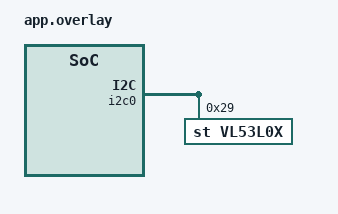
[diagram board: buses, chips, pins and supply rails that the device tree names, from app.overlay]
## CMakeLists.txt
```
cmake_minimum_required(VERSION 3.13.1)
# Copyright (c) 2019 PHYTEC Messtechnik GmbH
#
# SPDX-License-Identifier: Apache-2.0
#
set(BOARD reel_board)

include($ENV{ZEPHYR_BASE}/cmake/app/boilerplate.cmake NO_POLICY_SCOPE)
project(sensor_ble_beacon)

if(NOT ("${BOARD}" STREQUAL "reel_board"))
  message(FATAL_ERROR "${BOARD} was specified, but this sample only supports reel board")
endif()

target_sources(app PRIVATE src/main.c)
```

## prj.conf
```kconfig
#
# Copyright (c) 2019 PHYTEC Messtechnik GmbH
#
# SPDX-License-Identifier: Apache-2.0
#

CONFIG_BT=y
CONFIG_BT_BROADCASTER=y
CONFIG_BT_CTLR=y

CONFIG_TIMESLICING=n
CONFIG_SYS_POWER_MANAGEMENT=y
CONFIG_DEVICE_POWER_MANAGEMENT=y

CONFIG_GPIO=y
CONFIG_I2C=y
CONFIG_SENSOR=y

CONFIG_APDS9960=y
CONFIG_APDS9960_TRIGGER_GLOBAL_THREAD=n
CONFIG_APDS9960_ENABLE_ALS=n
CONFIG_APDS9960_PGAIN_8X=y
CONFIG_APDS9960_PPULSE_LENGTH_8US=y
CONFIG_APDS9960_PPULSE_COUNT=32

CONFIG_TI_HDC=y
```

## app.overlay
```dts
/*
 *
 * Copyright (c) 2019 Phytec Messtechnik GmbH
 *
 * SPDX-License-Identifier: Apache-2.0
 */

&i2c0 {

	vl53l0x@29 {
		compatible = "st,vl53l0x";
		reg = <0x29>;
		label = "VL53L0X";
	};
};
```

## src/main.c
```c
/*
 * Copyright (c) 2019 PHYTEC Messtechnik GmbH
 *
 * SPDX-License-Identifier: Apache-2.0
 */

#include <zephyr.h>
#include <string.h>
#include <soc.h>
#include <device.h>
#include <drivers/gpio.h>
#include <drivers/sensor.h>
#include <sys/printk.h>
#include <stdio.h>
#include <soc.h>

#include <bluetooth/bluetooth.h>
#include <bluetooth/hci.h>

/*
 * Beacon device manufacturer's company identifier code.
 * Please set it to your MFG ID.
 */
#define BEACON_MFG_ID			0xffff


#define LOW_POWER_STATE_TIME		200

#define BEACON_ADVERTISING_TIME		200

#define PROXIMITY_THOLD			200

#define MAX_NUMOF_BELOW_THOLD		100

K_SEM_DEFINE(bt_ready_sem, 0, 1);
static struct k_delayed_work adv_timer;
static const struct device *apds9960_dev;
static const struct device *hdc1010_dev;

static float numof_proxy_events = 0;
static float numof_below_thold = 0;

enum sensor_type_id {
	SENSOR_ID_NONE = 0,
	SENSOR_ID_TEMPERATURE,
	SENSOR_ID_HUMIDITY,
	SENSOR_ID_PROX,
	SENSOR_ID_NUMOF_EVENTS,
};

struct beacon_sensor_data {
	uint8_t type[4];
	union {
		uint8_t values[16];
		float fvalues[4];
	};
} __packed;

struct altbeacon_proto_fields {
	uint16_t mfg_id;
	uint16_t beacon_code;
	/* beacon code 20 octets */
	struct beacon_sensor_data data;
	/* reference RSSI */
	int8_t rssi;
	/* reserved octet */
	uint8_t reserved;
} __packed;

static struct altbeacon_proto_fields mfg_data = {
	.mfg_id = BEACON_MFG_ID,
	.beacon_code = 0xacbe,
	.data = {
		.type[0] = SENSOR_ID_NONE,
		.values = {0},
	},
	.rssi = -40,
	.reserved = 0x00,
};

static const struct bt_data ad[] = {
	BT_DATA_BYTES(BT_DATA_FLAGS, BT_LE_AD_LIMITED),
	BT_DATA(BT_DATA_MANUFACTURER_DATA, &mfg_data, sizeof(mfg_data)),
};

static int get_apds9960_val(struct sensor_value *val)
{
	if (sensor_sample_fetch(apds9960_dev)) {
		printk("Failed to fetch sample for device %s\n",
		       DT_LABEL(DT_INST(0, avago_apds9960)));
		return -1;
	}

	if (sensor_channel_get(apds9960_dev, SENSOR_CHAN_PROX, &val[0])) {
		return -1;
	}

	return 0;
}

static int get_hdc1010_val(struct sensor_value *val)
{
	if (sensor_sample_fetch(hdc1010_dev)) {
		printk("Failed to fetch sample for device %s\n",
		       DT_LABEL(DT_INST(0, ti_hdc1010)));
		return -1;
	}

	if (sensor_channel_get(hdc1010_dev,
			       SENSOR_CHAN_AMBIENT_TEMP,
			       &val[0])) {
		return -1;
	}

	if (sensor_channel_get(hdc1010_dev,
			       SENSOR_CHAN_HUMIDITY,
			       &val[1])) {
		return -1;
	}

	return 0;
}

static void bt_ready(int err)
{
	k_sem_give(&bt_ready_sem);
	if (err) {
		printk("Bluetooth init failed (err %d)\n", err);
	}

	return;
}

static void do_adv_stop(struct k_work *work)
{
	printk("adv stop\n");
	int err = bt_le_adv_stop();
	if (err) {
		printk("Advertising failed to stop (err %d)\n", err);
	}
}

static void measure_and_update_adv(void)
{
	int err;
	struct sensor_value hdc1010_val[2];
	struct sensor_value apds9960_val[1];

	/*
	 * size_t bt_addr_count = ARRAY_SIZE(bt_addr);
	 * bt_addr_le_t bt_addr[1];
	 * bt_id_get(bt_addr, &bt_addr_count);
	 * if (bt_addr_count == 0) {
	 * 	printk("Failed to fetch bluetooth id\n");
	 * 	return;
	 * }
	 * printk("addr type %d\n", bt_addr[0].type);
	 * printk("addr 0x%x:0x%x:0x%x:0x%x:0x%x:0x%x\n",
	 *        bt_addr[0].a.val[5],
	 *        bt_addr[0].a.val[4],
	 *        bt_addr[0].a.val[3],
	 *        bt_addr[0].a.val[2],
	 *        bt_addr[0].a.val[1],
	 *        bt_addr[0].a.val[0]);
	 */

	/* Check I2C functionality */
	if (get_hdc1010_val(hdc1010_val)) {
		printk("Failed to fetch T|RH value\n");
		return;
	}

	do {
		k_sleep(K_MSEC(LOW_POWER_STATE_TIME));
		/* Reset all types and values */
		memset(&mfg_data.data, 0, sizeof(mfg_data.data));

		if (!get_apds9960_val(apds9960_val)) {
			printk("Proximity:%d\n", apds9960_val[0].val1);
			/* Check if value is over threshold */
			if (apds9960_val[0].val1 < PROXIMITY_THOLD) {
				numof_below_thold ++;
				if (numof_below_thold > MAX_NUMOF_BELOW_THOLD) {
					numof_below_thold = 0;
					printk("Timeout\n");
				} else {
					continue;
				}
			} else {
				mfg_data.data.type[2] = SENSOR_ID_PROX;
				mfg_data.data.fvalues[2] = apds9960_val[0].val1;
				numof_below_thold = 0;
				/* Increment number of events */
				numof_proxy_events ++;
				mfg_data.data.type[3] = SENSOR_ID_NUMOF_EVENTS;
				mfg_data.data.fvalues[3] = numof_proxy_events;
			}
		} else {
			printk("Failed to fetch proximity value\n");
		}

		if (!get_hdc1010_val(hdc1010_val)) {
			mfg_data.data.type[0] = SENSOR_ID_TEMPERATURE;
			mfg_data.data.fvalues[0] = hdc1010_val[0].val1 +
					(float)hdc1010_val[0].val2 / 1000000.0;

			mfg_data.data.type[1] = SENSOR_ID_HUMIDITY;
			mfg_data.data.fvalues[1] = hdc1010_val[1].val1 +
					(float)hdc1010_val[1].val2 / 1000000.0;

			printk("T: %d.%d C | RH: %d%%\n",
			       hdc1010_val[0].val1,
			       hdc1010_val[0].val2/100000,
			       hdc1010_val[1].val1);
		} else {
			printk("Failed to fetch T|RH values\n");
		}

		err = bt_le_adv_start(BT_LE_ADV_NCONN_IDENTITY, ad, ARRAY_SIZE(ad),
				      NULL, 0);
		if (err) {
			/* This will also happens if the frequency of the
			 * event is to high and the controller still
			 * advertises. */
			printk("Adv failed to start (err %d)\n", err);
		}

		k_delayed_work_submit(&adv_timer,
				      K_MSEC(BEACON_ADVERTISING_TIME));

	} while (1);
}


#define PERIPH_PON_PIN		0

static void force_dcdc_low_power_mode(void)
{
	volatile NRF_GPIO_Type *gpio = NRF_P1;

	/*
	 * Workaround to force low power mode of power regulator.
	 */
	gpio->PIN_CNF[PERIPH_PON_PIN] =
		(GPIO_PIN_CNF_INPUT_Disconnect << GPIO_PIN_CNF_INPUT_Pos) |
		(GPIO_PIN_CNF_DIR_Output << GPIO_PIN_CNF_DIR_Pos);

	gpio->OUTCLR = BIT(PERIPH_PON_PIN);
}

void main(void)
{
	int err;

	force_dcdc_low_power_mode();
	k_delayed_work_init(&adv_timer, do_adv_stop);

	hdc1010_dev = device_get_binding(DT_LABEL(DT_INST(0, ti_hdc1010)));
	if (hdc1010_dev == NULL) {
		printk("Failed to get %s device\n", DT_LABEL(DT_INST(0, ti_hdc1010)));
		return;
	}

	apds9960_dev = device_get_binding(DT_LABEL(DT_INST(0, avago_apds9960)));
	if (apds9960_dev == NULL) {
		printk("Failed to get %s device\n",
		       DT_LABEL(DT_INST(0, avago_apds9960)));
		return;
	}

	/* Initialize the Bluetooth Subsystem */
	err = bt_enable(bt_ready);
	if (err) {
		printk("Bluetooth init failed (err %d)\n", err);
		return;
	}

	k_sem_take(&bt_ready_sem, K_FOREVER);
	printk("\n*** Sensor Beacon Demo on %s ***\n", CONFIG_BOARD);

	measure_and_update_adv();
}
```
